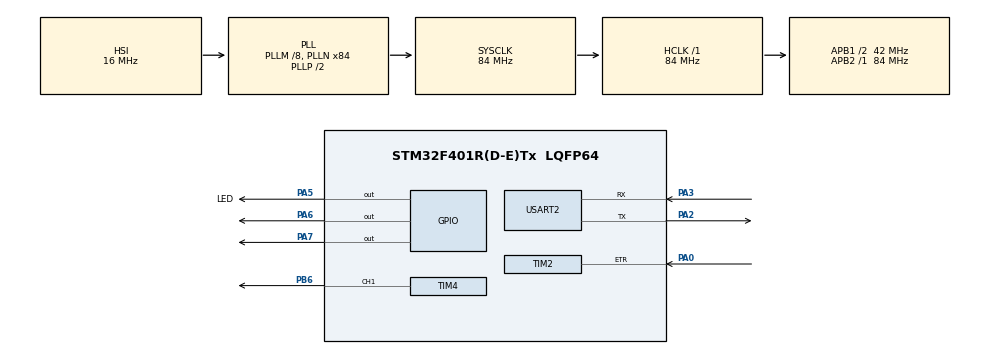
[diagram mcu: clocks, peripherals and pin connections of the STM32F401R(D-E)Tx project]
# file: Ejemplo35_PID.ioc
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Mcu.Family=STM32F4
Mcu.Name=STM32F401R(D-E)Tx
Mcu.Package=LQFP64
NVIC.PriorityGroup=NVIC_PRIORITYGROUP_4
NVIC.TIM1_UP_TIM10_IRQn=true\:0\:0\:false\:false\:true\:true\:true\:true
NVIC.USART2_IRQn=true\:0\:0\:false\:false\:true\:true\:true\:true
PA0-WKUP.Signal=S_TIM2_CH1_ETR
PA13.Mode=Serial_Wire
PA13.Signal=SYS_JTMS-SWDIO
PA14.Mode=Serial_Wire
PA14.Signal=SYS_JTCK-SWCLK
PA2.Mode=Asynchronous
PA2.Signal=USART2_TX
PA3.Mode=Asynchronous
PA3.Signal=USART2_RX
PA5.GPIO_Label=LED
PA5.Signal=GPIO_Output
PA6.Signal=GPIO_Output
PA7.Signal=GPIO_Output
PB6.Signal=S_TIM4_CH1
PH0\ -\ OSC_IN.Mode=HSE-External-Clock-Source
PH0\ -\ OSC_IN.Signal=RCC_OSC_IN
PH1\ -\ OSC_OUT.Mode=HSE-External-Clock-Source
PH1\ -\ OSC_OUT.Signal=RCC_OSC_OUT
ProjectManager.HeapSize=0x200
ProjectManager.StackSize=0x400
ProjectManager.TargetToolchain=STM32CubeIDE
RCC.48MHZClocksFreq_Value=42000000
RCC.AHBFreq_Value=84000000
RCC.APB1CLKDivider=RCC_HCLK_DIV2
RCC.APB1Freq_Value=42000000
RCC.APB1TimFreq_Value=84000000
RCC.APB2Freq_Value=84000000
RCC.APB2TimFreq_Value=84000000
RCC.CortexFreq_Value=84000000
RCC.HCLKFreq_Value=84000000
RCC.HSE_VALUE=8000000
RCC.HSI_VALUE=16000000
RCC.LSE_VALUE=32768
RCC.PLLM=8
RCC.PLLN=84
RCC.SYSCLKFreq_VALUE=84000000
RCC.SYSCLKSource=RCC_SYSCLKSOURCE_PLLCLK
RCC.VCOOutputFreq_Value=168000000
SH.S_TIM2_CH1_ETR.0=TIM2_ETR,TriggerSource_ETR
SH.S_TIM4_CH1.0=TIM4_CH1,PWM Generation1 CH1
TIM10.Period=8400-1
TIM10.Prescaler=100-1
TIM4.Channel-PWM\ Generation1\ CH1=TIM_CHANNEL_1
TIM4.Period=8400
TIM4.Prescaler=1
USART2.VirtualMode=VM_ASYNC
VP_TIM10_VS_ClockSourceINT.Mode=Enable_Timer
VP_TIM2_VS_ControllerModeClock.Mode=Clock Mode
board=custom

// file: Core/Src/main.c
/* USER CODE BEGIN Header */
/**
  ******************************************************************************
  * @file           : main.c
  * @brief          : Main program body
  ******************************************************************************
  * @attention
  *
  * Copyright (c) 2023 STMicroelectronics.
  * All rights reserved.
  *
  * This software is licensed under terms that can be found in the LICENSE file
  * in the root directory of this software component.
  * If no LICENSE file comes with this software, it is provided AS-IS.
  *
  ******************************************************************************
  */
/* USER CODE END Header */
#include "main.h"

/* USER CODE BEGIN Includes */
#include <string.h>
#include <stdio.h>
#include <stdlib.h>
#include <stdint.h>
#include "PID.h"
/* USER CODE END Includes */

TIM_HandleTypeDef htim2;
TIM_HandleTypeDef htim4;
TIM_HandleTypeDef htim10;

UART_HandleTypeDef huart2;

void SystemClock_Config(void);
static void MX_GPIO_Init(void);
static void MX_TIM2_Init(void);
static void MX_TIM4_Init(void);
static void MX_TIM10_Init(void);
static void MX_USART2_UART_Init(void);

/* USER CODE BEGIN 0 */

#define Ts 10E-3
#define S 120
#define KP  0.00051756
#define KI 0.24108
#define KD 0
#define Tau 0
#define LMAX 12.0
#define LMIN 0.0

uint8_t rx_char;
uint32_t pulso;
float rpm;
float rads;
char buffer_rx[100];
char buffer_tx[100];
uint16_t i =0;
float U;
float ref;
ControladorPID  MotorDC = {KP,KI,KD,Tau,LMAX,LMIN,Ts};

/* USER CODE END 0 */

int main(void)
{

  /* MCU Configuration--------------------------------------------------------*/

  /* Reset of all peripherals, Initializes the Flash interface and the Systick. */
  HAL_Init();

  /* Configure the system clock */
  SystemClock_Config();

  /* Initialize all configured peripherals */
  MX_GPIO_Init();
  MX_TIM2_Init();
  MX_TIM4_Init();
  MX_TIM10_Init();
  MX_USART2_UART_Init();
  /* USER CODE BEGIN 2 */
  HAL_TIM_Base_Start(&htim2);
  HAL_TIM_Base_Start_IT(&htim10);
  HAL_TIM_PWM_Start(&htim4, TIM_CHANNEL_1);
  __HAL_TIM_SET_COMPARE(&htim4,TIM_CHANNEL_1,0);
  HAL_UART_Receive_IT(&huart2, &rx_char, 1);
  HAL_GPIO_WritePin(GPIOA, GPIO_PIN_6, 1);
  HAL_GPIO_WritePin(GPIOA, GPIO_PIN_7, 0);

  Controlador_PID(&MotorDC);
  /* USER CODE END 2 */

  /* Infinite loop */
  while (1)
  {

  }
}

void SystemClock_Config(void)
{
  RCC_OscInitTypeDef RCC_OscInitStruct = {0};
  RCC_ClkInitTypeDef RCC_ClkInitStruct = {0};

  /** Configure the main internal regulator output voltage
  */
  __HAL_RCC_PWR_CLK_ENABLE();
  __HAL_PWR_VOLTAGESCALING_CONFIG(PWR_REGULATOR_VOLTAGE_SCALE2);

  /** Initializes the RCC Oscillators according to the specified parameters
  * in the RCC_OscInitTypeDef structure.
  */
  RCC_OscInitStruct.OscillatorType = RCC_OSCILLATORTYPE_HSI;
  RCC_OscInitStruct.HSIState = RCC_HSI_ON;
  RCC_OscInitStruct.HSICalibrationValue = RCC_HSICALIBRATION_DEFAULT;
  RCC_OscInitStruct.PLL.PLLState = RCC_PLL_ON;
  RCC_OscInitStruct.PLL.PLLSource = RCC_PLLSOURCE_HSI;
  RCC_OscInitStruct.PLL.PLLM = 8;
  RCC_OscInitStruct.PLL.PLLN = 84;
  RCC_OscInitStruct.PLL.PLLP = RCC_PLLP_DIV2;
  RCC_OscInitStruct.PLL.PLLQ = 4;
  if (HAL_RCC_OscConfig(&RCC_OscInitStruct) != HAL_OK)
  {
    Error_Handler();
  }

  /** Initializes the CPU, AHB and APB buses clocks
  */
  RCC_ClkInitStruct.ClockType = RCC_CLOCKTYPE_HCLK|RCC_CLOCKTYPE_SYSCLK
                              |RCC_CLOCKTYPE_PCLK1|RCC_CLOCKTYPE_PCLK2;
  RCC_ClkInitStruct.SYSCLKSource = RCC_SYSCLKSOURCE_PLLCLK;
  RCC_ClkInitStruct.AHBCLKDivider = RCC_SYSCLK_DIV1;
  RCC_ClkInitStruct.APB1CLKDivider = RCC_HCLK_DIV2;
  RCC_ClkInitStruct.APB2CLKDivider = RCC_HCLK_DIV1;

  if (HAL_RCC_ClockConfig(&RCC_ClkInitStruct, FLASH_LATENCY_2) != HAL_OK)
  {
    Error_Handler();
  }
}

static void MX_TIM2_Init(void)
{

  TIM_SlaveConfigTypeDef sSlaveConfig = {0};
  TIM_MasterConfigTypeDef sMasterConfig = {0};

  htim2.Instance = TIM2;
  htim2.Init.Prescaler = 0;
  htim2.Init.CounterMode = TIM_COUNTERMODE_UP;
  htim2.Init.Period = 4294967295;
  htim2.Init.ClockDivision = TIM_CLOCKDIVISION_DIV1;
  htim2.Init.AutoReloadPreload = TIM_AUTORELOAD_PRELOAD_DISABLE;
  if (HAL_TIM_Base_Init(&htim2) != HAL_OK)
  {
    Error_Handler();
  }
  sSlaveConfig.SlaveMode = TIM_SLAVEMODE_EXTERNAL1;
  sSlaveConfig.InputTrigger = TIM_TS_ETRF;
  sSlaveConfig.TriggerPolarity = TIM_TRIGGERPOLARITY_NONINVERTED;
  sSlaveConfig.TriggerPrescaler = TIM_TRIGGERPRESCALER_DIV1;
  sSlaveConfig.TriggerFilter = 0;
  if (HAL_TIM_SlaveConfigSynchro(&htim2, &sSlaveConfig) != HAL_OK)
  {
    Error_Handler();
  }
  sMasterConfig.MasterOutputTrigger = TIM_TRGO_RESET;
  sMasterConfig.MasterSlaveMode = TIM_MASTERSLAVEMODE_DISABLE;
  if (HAL_TIMEx_MasterConfigSynchronization(&htim2, &sMasterConfig) != HAL_OK)
  {
    Error_Handler();
  }

}

static void MX_TIM4_Init(void)
{

  TIM_MasterConfigTypeDef sMasterConfig = {0};
  TIM_OC_InitTypeDef sConfigOC = {0};

  htim4.Instance = TIM4;
  htim4.Init.Prescaler = 1;
  htim4.Init.CounterMode = TIM_COUNTERMODE_UP;
  htim4.Init.Period = 8400;
  htim4.Init.ClockDivision = TIM_CLOCKDIVISION_DIV1;
  htim4.Init.AutoReloadPreload = TIM_AUTORELOAD_PRELOAD_DISABLE;
  if (HAL_TIM_PWM_Init(&htim4) != HAL_OK)
  {
    Error_Handler();
  }
  sMasterConfig.MasterOutputTrigger = TIM_TRGO_RESET;
  sMasterConfig.MasterSlaveMode = TIM_MASTERSLAVEMODE_DISABLE;
  if (HAL_TIMEx_MasterConfigSynchronization(&htim4, &sMasterConfig) != HAL_OK)
  {
    Error_Handler();
  }
  sConfigOC.OCMode = TIM_OCMODE_PWM1;
  sConfigOC.Pulse = 0;
  sConfigOC.OCPolarity = TIM_OCPOLARITY_HIGH;
  sConfigOC.OCFastMode = TIM_OCFAST_DISABLE;
  if (HAL_TIM_PWM_ConfigChannel(&htim4, &sConfigOC, TIM_CHANNEL_1) != HAL_OK)
  {
    Error_Handler();
  }
  HAL_TIM_MspPostInit(&htim4);

}

static void MX_TIM10_Init(void)
{

  htim10.Instance = TIM10;
  htim10.Init.Prescaler = 100-1;
  htim10.Init.CounterMode = TIM_COUNTERMODE_UP;
  htim10.Init.Period = 8400-1;
  htim10.Init.ClockDivision = TIM_CLOCKDIVISION_DIV1;
  htim10.Init.AutoReloadPreload = TIM_AUTORELOAD_PRELOAD_DISABLE;
  if (HAL_TIM_Base_Init(&htim10) != HAL_OK)
  {
    Error_Handler();
  }

}

static void MX_USART2_UART_Init(void)
{

  huart2.Instance = USART2;
  huart2.Init.BaudRate = 115200;
  huart2.Init.WordLength = UART_WORDLENGTH_8B;
  huart2.Init.StopBits = UART_STOPBITS_1;
  huart2.Init.Parity = UART_PARITY_NONE;
  huart2.Init.Mode = UART_MODE_TX_RX;
  huart2.Init.HwFlowCtl = UART_HWCONTROL_NONE;
  huart2.Init.OverSampling = UART_OVERSAMPLING_16;
  if (HAL_UART_Init(&huart2) != HAL_OK)
  {
    Error_Handler();
  }

}

static void MX_GPIO_Init(void)
{
  GPIO_InitTypeDef GPIO_InitStruct = {0};

  /* GPIO Ports Clock Enable */
  __HAL_RCC_GPIOH_CLK_ENABLE();
  __HAL_RCC_GPIOA_CLK_ENABLE();
  __HAL_RCC_GPIOB_CLK_ENABLE();

  /*Configure GPIO pin Output Level */
  HAL_GPIO_WritePin(GPIOA, LED_Pin|GPIO_PIN_6|GPIO_PIN_7, GPIO_PIN_RESET);

  /*Configure GPIO pins : LED_Pin PA6 PA7 */
  GPIO_InitStruct.Pin = LED_Pin|GPIO_PIN_6|GPIO_PIN_7;
  GPIO_InitStruct.Mode = GPIO_MODE_OUTPUT_PP;
  GPIO_InitStruct.Pull = GPIO_NOPULL;
  GPIO_InitStruct.Speed = GPIO_SPEED_FREQ_LOW;
  HAL_GPIO_Init(GPIOA, &GPIO_InitStruct);

}

/* USER CODE BEGIN 4 */
void HAL_TIM_PeriodElapsedCallback(TIM_HandleTypeDef *htim){

	if (htim  == &htim10) {

	pulso = __HAL_TIM_GET_COUNTER(&htim2);
	__HAL_TIM_SET_COUNTER(&htim2,0);

	/****************/
	rpm = pulso *60.0/ (Ts*S);
    rads = rpm*(2*3.141592653589)/60.0;

    /**/

    U = ControladorPID_Calculo(&MotorDC, ref, rads)*8399/12;
    __HAL_TIM_SET_COMPARE(&htim4,TIM_CHANNEL_1,(uint16_t)U*2);
    /***/
    sprintf((char*)buffer_tx,"%0.2f\n\r",rads);
    HAL_UART_Transmit(&huart2, buffer_tx, strlen((char*)buffer_tx), 5);
	}

}

void HAL_UART_RxCpltCallback(UART_HandleTypeDef *huart){

	if (rx_char == 'x') {

		ref = atof(buffer_rx);
		memset(buffer_rx,0,i);
		i=0;

	}else{
		HAL_GPIO_TogglePin(LED_GPIO_Port, LED_Pin);
		buffer_rx[i] =rx_char;
		i++;

	}

	  HAL_UART_Receive_IT(&huart2, &rx_char, 1);
}

/* USER CODE END 4 */

void Error_Handler(void)
{
  __disable_irq();
  while (1)
  {
  }
}
